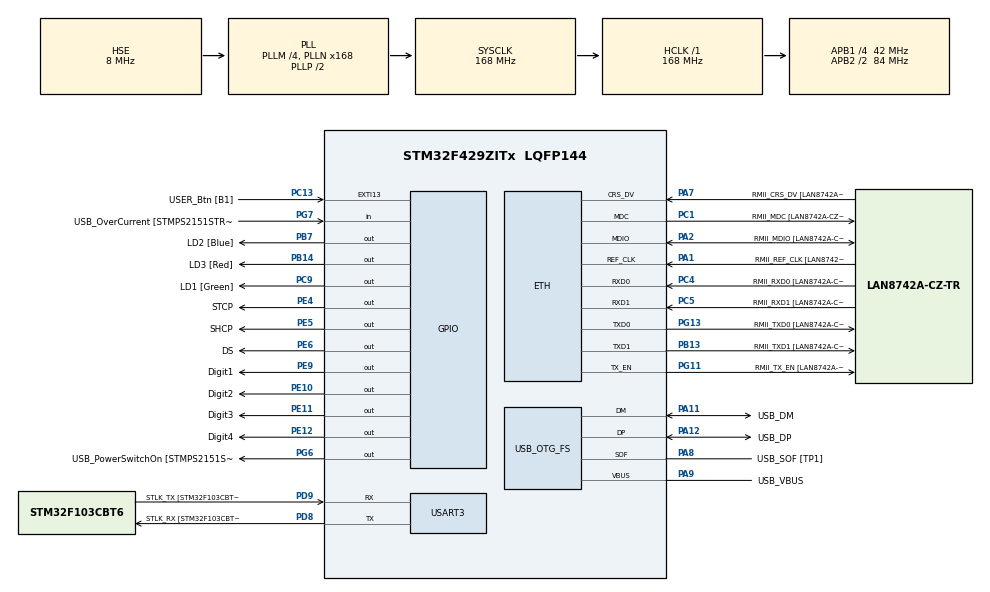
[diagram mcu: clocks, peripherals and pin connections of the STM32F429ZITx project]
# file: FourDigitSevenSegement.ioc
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ETH.MediaInterface=ETH_MEDIA_INTERFACE_RMII
ETH.PHY_Name=LAN8742A_PHY_ADDRESS
ETH.PHY_Value=0
ETH.PhyAddress=0
FREERTOS.Tasks01=defaultTask,0,128,StartDefaultTask,Default,NULL
Mcu.Family=STM32F4
Mcu.Name=STM32F429ZITx
Mcu.Package=LQFP144
NVIC.PriorityGroup=NVIC_PRIORITYGROUP_4
NVIC.TIM1_UP_TIM10_IRQn=true\:0\:0\:false\:false\:true\:false\:false
NVIC.TimeBase=TIM1_UP_TIM10_IRQn
NVIC.TimeBaseIP=TIM1
PA1.GPIO_Label=RMII_REF_CLK [LAN8742A-CZ-TR_REFCLK0]
PA1.Mode=RMII
PA1.Signal=ETH_REF_CLK
PA10.GPIO_Label=USB_ID
PA10.Signal=USB_OTG_FS_ID
PA11.GPIO_Label=USB_DM
PA11.Mode=Device_Only
PA11.Signal=USB_OTG_FS_DM
PA12.GPIO_Label=USB_DP
PA12.Mode=Device_Only
PA12.Signal=USB_OTG_FS_DP
PA13.GPIO_Label=TMS
PA13.Mode=Serial_Wire
PA13.Signal=SYS_JTMS-SWDIO
PA14.GPIO_Label=TCK
PA14.Mode=Serial_Wire
PA14.Signal=SYS_JTCK-SWCLK
PA2.GPIO_Label=RMII_MDIO [LAN8742A-CZ-TR_MDIO]
PA2.Mode=RMII
PA2.Signal=ETH_MDIO
PA7.GPIO_Label=RMII_CRS_DV [LAN8742A-CZ-TR_CRS_DV]
PA7.Mode=RMII
PA7.Signal=ETH_CRS_DV
PA8.GPIO_Label=USB_SOF [TP1]
PA8.Mode=Activate_SOF_FS
PA8.Signal=USB_OTG_FS_SOF
PA9.GPIO_Label=USB_VBUS
PA9.Mode=Activate_VBUS
PA9.Signal=USB_OTG_FS_VBUS
PB13.GPIO_Label=RMII_TXD1 [LAN8742A-CZ-TR_TXD1]
PB13.Mode=RMII
PB13.Signal=ETH_TXD1
PB14.GPIO_Label=LD3 [Red]
PB14.Signal=GPIO_Output
PB7.GPIO_Label=LD2 [Blue]
PB7.Signal=GPIO_Output
PC1.GPIO_Label=RMII_MDC [LAN8742A-CZ-TR_MDC]
PC1.Mode=RMII
PC1.Signal=ETH_MDC
PC13.GPIO_Label=USER_Btn [B1]
PC13.Signal=GPXTI13
PC14/OSC32_IN.Mode=LSE-External-Oscillator
PC14/OSC32_IN.Signal=RCC_OSC32_IN
PC15/OSC32_OUT.Mode=LSE-External-Oscillator
PC15/OSC32_OUT.Signal=RCC_OSC32_OUT
PC4.GPIO_Label=RMII_RXD0 [LAN8742A-CZ-TR_RXD0]
PC4.Mode=RMII
PC4.Signal=ETH_RXD0
PC5.GPIO_Label=RMII_RXD1 [LAN8742A-CZ-TR_RXD1]
PC5.Mode=RMII
PC5.Signal=ETH_RXD1
PC9.GPIO_Label=LD1 [Green]
PC9.Signal=GPIO_Output
PD8.GPIO_Label=STLK_RX [STM32F103CBT6_PA3]
PD8.Mode=Asynchronous
PD8.Signal=USART3_TX
PD9.GPIO_Label=STLK_TX [STM32F103CBT6_PA2]
PD9.Mode=Asynchronous
PD9.Signal=USART3_RX
PE10.GPIO_Label=Digit2
PE10.Signal=GPIO_Output
PE11.GPIO_Label=Digit3
PE11.Signal=GPIO_Output
PE12.GPIO_Label=Digit4
PE12.Signal=GPIO_Output
PE4.GPIO_Label=STCP
PE4.Signal=GPIO_Output
PE5.GPIO_Label=SHCP
PE5.Signal=GPIO_Output
PE6.GPIO_Label=DS
PE6.Signal=GPIO_Output
PE9.GPIO_Label=Digit1
PE9.Signal=GPIO_Output
PG11.GPIO_Label=RMII_TX_EN [LAN8742A-CZ-TR_TXEN]
PG11.Mode=RMII
PG11.Signal=ETH_TX_EN
PG13.GPIO_Label=RMII_TXD0 [LAN8742A-CZ-TR_TXD0]
PG13.Mode=RMII
PG13.Signal=ETH_TXD0
PG6.GPIO_Label=USB_PowerSwitchOn [STMPS2151STR_EN]
PG6.Signal=GPIO_Output
PG7.GPIO_Label=USB_OverCurrent [STMPS2151STR_FAULT]
PG7.Signal=GPIO_Input
PH0/OSC_IN.GPIO_Label=MCO [STM32F103CBT6_PA8]
PH0/OSC_IN.Mode=HSE-External-Clock-Source
PH0/OSC_IN.Signal=RCC_OSC_IN
PH1/OSC_OUT.Mode=HSE-External-Clock-Source
PH1/OSC_OUT.Signal=RCC_OSC_OUT
ProjectManager.HeapSize=0x200
ProjectManager.StackSize=0x400
ProjectManager.TargetToolchain=SW4STM32
RCC.48MHZClocksFreq_Value=48000000
RCC.AHBFreq_Value=168000000
RCC.APB1CLKDivider=RCC_HCLK_DIV4
RCC.APB1Freq_Value=42000000
RCC.APB1TimFreq_Value=84000000
RCC.APB2CLKDivider=RCC_HCLK_DIV2
RCC.APB2Freq_Value=84000000
RCC.APB2TimCLKDivider=2
RCC.APB2TimFreq_Value=168000000
RCC.CortexFreq_Value=168000000
RCC.HCLKFreq_Value=168000000
RCC.HSE_VALUE=8000000
RCC.HSI_VALUE=16000000
RCC.PLLM=4
RCC.PLLMUL=RCC_PLL_MUL9
RCC.PLLN=168
RCC.PLLQ=7
RCC.PRESCALERUSB=RCC_USBCLKSOURCE_PLL_DIV1_5
RCC.SYSCLKFreq_VALUE=168000000
RCC.SYSCLKSource=RCC_SYSCLKSOURCE_PLLCLK
RCC.SYSCLKSourceVirtual=RCC_SYSCLKSOURCE_PLLCLK
RCC.USBFreq_Value=48000000
RCC.VCOOutputFreq_Value=336000000
USART3.VirtualMode=VM_ASYNC
USB_OTG_FS.VirtualMode=Device_Only
VP_FREERTOS_VS_ENABLE.Mode=Enabled
VP_SYS_VS_tim1.Mode=TIM1
board=NUCLEO-F429ZI

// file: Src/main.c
/* USER CODE BEGIN Header */
/**
  ******************************************************************************
  * @file           : main.c
  * @brief          : Main program body
  ******************************************************************************
  * This notice applies to any and all portions of this file
  * that are not between comment pairs USER CODE BEGIN and
  * USER CODE END. Other portions of this file, whether
  * inserted by the user or by software development tools
  * are owned by their respective copyright owners.
  *
  * Copyright (c) 2019 STMicroelectronics International N.V.
  * All rights reserved.
  *
  * Redistribution and use in source and binary forms, with or without
  * modification, are permitted, provided that the following conditions are met:
  *
  * 1. Redistribution of source code must retain the above copyright notice,
  *    this list of conditions and the following disclaimer.
  * 2. Redistributions in binary form must reproduce the above copyright notice,
  *    this list of conditions and the following disclaimer in the documentation
  *    and/or other materials provided with the distribution.
  * 3. Neither the name of STMicroelectronics nor the names of other
  *    contributors to this software may be used to endorse or promote products
  *    derived from this software without specific written permission.
  * 4. This software, including modifications and/or derivative works of this
  *    software, must execute solely and exclusively on microcontroller or
  *    microprocessor devices manufactured by or for STMicroelectronics.
  * 5. Redistribution and use of this software other than as permitted under
  *    this license is void and will automatically terminate your rights under
  *    this license.
  *
  * THIS SOFTWARE IS PROVIDED BY STMICROELECTRONICS AND CONTRIBUTORS "AS IS"
  * AND ANY EXPRESS, IMPLIED OR STATUTORY WARRANTIES, INCLUDING, BUT NOT
  * LIMITED TO, THE IMPLIED WARRANTIES OF MERCHANTABILITY, FITNESS FOR A
  * PARTICULAR PURPOSE AND NON-INFRINGEMENT OF THIRD PARTY INTELLECTUAL PROPERTY
  * RIGHTS ARE DISCLAIMED TO THE FULLEST EXTENT PERMITTED BY LAW. IN NO EVENT
  * SHALL STMICROELECTRONICS OR CONTRIBUTORS BE LIABLE FOR ANY DIRECT, INDIRECT,
  * INCIDENTAL, SPECIAL, EXEMPLARY, OR CONSEQUENTIAL DAMAGES (INCLUDING, BUT NOT
  * LIMITED TO, PROCUREMENT OF SUBSTITUTE GOODS OR SERVICES; LOSS OF USE, DATA,
  * OR PROFITS; OR BUSINESS INTERRUPTION) HOWEVER CAUSED AND ON ANY THEORY OF
  * LIABILITY, WHETHER IN CONTRACT, STRICT LIABILITY, OR TORT (INCLUDING
  * NEGLIGENCE OR OTHERWISE) ARISING IN ANY WAY OUT OF THE USE OF THIS SOFTWARE,
  * EVEN IF ADVISED OF THE POSSIBILITY OF SUCH DAMAGE.
  *
  ******************************************************************************
  */
/* USER CODE END Header */

#include "main.h"
#include "cmsis_os.h"

/* USER CODE BEGIN Includes */
#include <stdlib.h>
#include <stdbool.h>
/* USER CODE END Includes */

ETH_HandleTypeDef heth;

UART_HandleTypeDef huart3;

PCD_HandleTypeDef hpcd_USB_OTG_FS;

osThreadId defaultTaskHandle;

void SystemClock_Config(void);
static void MX_GPIO_Init(void);
static void MX_ETH_Init(void);
static void MX_USART3_UART_Init(void);
static void MX_USB_OTG_FS_PCD_Init(void);
void StartDefaultTask(void const * argument);

/* USER CODE BEGIN 0 */
#define LED_DELAY 400

// cubemx has incorrect mapping for f429zi  green led
//#define GREEN_LED_PIN LD1_Pin
//#define GREEN_BANK    LD1_GPIO_Port
#define GREEN_LED_PIN GPIO_PIN_0
#define GREEN_BANK    GPIOB

#define BLUE_LED_PIN LD2_Pin
#define BLUE_BANK    LD2_GPIO_Port

#define RED_LED_PIN LD3_Pin
#define RED_BANK    LD3_GPIO_Port

void blink(GPIO_TypeDef * bank, uint16_t pin, int16_t count, int16_t delay){
    for(int16_t i = 0; i < count; i++) {
        HAL_GPIO_WritePin(bank, pin, GPIO_PIN_SET);
        HAL_Delay(delay);
        HAL_GPIO_WritePin(bank, pin, GPIO_PIN_RESET);
        HAL_Delay(delay);
    }
}

void blinkOnGreenDelay(int16_t count, int16_t delay) { blink(GREEN_BANK, GREEN_LED_PIN, count, delay); }
void blinkOnGreen(int16_t count) { blinkOnGreenDelay(count, LED_DELAY); }

void blinkOnRedDelay(int16_t count, int16_t delay) { blink(RED_BANK, RED_LED_PIN, count, delay); }
void blinkOnRed(int16_t count) { blinkOnRedDelay(count, LED_DELAY); }

void blinkOnBlueDelay(int16_t count, int16_t delay) { blink(BLUE_BANK, BLUE_LED_PIN, count, delay); }
void blinkOnBlue(int16_t count) { blinkOnBlueDelay(count, LED_DELAY); }

//

uint8_t table[] =
        { 0x3f, 0x06, 0x5b, 0x4f,
          0x66, 0x6d, 0x7d, 0x07,
          0x7f, 0x6f, 0x77, 0x7c,
          0x39, 0x5e, 0x79, 0x71,
          0x00 };

void shiftOut(GPIO_TypeDef * dataBank, uint16_t dataPin,
              GPIO_TypeDef * clockBank, uint16_t clockPin,
              bool MSBFIRST, uint8_t val) {
    uint8_t i;

    for (i = 0; i < 8; i++) {
        if(MSBFIRST) {
            HAL_GPIO_WritePin(dataBank, dataPin, !!(val & (1 << (7 - i))));
        }
        else {
            HAL_GPIO_WritePin(dataBank, dataPin, !!(val & (1 << i)));
        }

        // pulse the clock pin (at least one HAL_Delay(1) is neeeded)
        HAL_GPIO_WritePin(clockBank, clockPin, GPIO_PIN_SET);
        //HAL_Delay(1);
        HAL_GPIO_WritePin(clockBank, clockPin, GPIO_PIN_RESET);
        HAL_Delay(1);
    }
}

void display(uint8_t num) {

    HAL_GPIO_WritePin(STCP_GPIO_Port, STCP_Pin, GPIO_PIN_RESET);

    uint8_t value = table[num];

    shiftOut(DS_GPIO_Port, DS_Pin,
             SHCP_GPIO_Port, SHCP_Pin,
             true,
             value
    );

    HAL_GPIO_WritePin(STCP_GPIO_Port, STCP_Pin, GPIO_PIN_SET);
}

void mydisplay(uint8_t num) {

    uint8_t tens = num / 10;
    uint8_t ones = num % 10;

    for(int i = 0; i < 10; i++){
        display(ones);
        HAL_GPIO_WritePin(Digit2_GPIO_Port, Digit2_Pin, GPIO_PIN_RESET);
        HAL_GPIO_WritePin(Digit1_GPIO_Port, Digit1_Pin, GPIO_PIN_SET);

//        HAL_Delay(100);

        display(tens);
        HAL_GPIO_WritePin(Digit1_GPIO_Port, Digit1_Pin, GPIO_PIN_RESET);
        HAL_GPIO_WritePin(Digit2_GPIO_Port, Digit2_Pin, GPIO_PIN_SET);

  //      HAL_Delay(100);
    }
}

extern void initialise_monitor_handles(void);
/* USER CODE END 0 */

int main(void)
{
  /* USER CODE BEGIN 1 */
  initialise_monitor_handles();

  /* USER CODE END 1 */

  /* MCU Configuration--------------------------------------------------------*/

  /* Reset of all peripherals, Initializes the Flash interface and the Systick. */
  HAL_Init();

  /* Configure the system clock */
  SystemClock_Config();

  /* Initialize all configured peripherals */
  MX_GPIO_Init();
  MX_ETH_Init();
  MX_USART3_UART_Init();
  MX_USB_OTG_FS_PCD_Init();

  /* Create the thread(s) */
  /* definition and creation of defaultTask */
  osThreadDef(defaultTask, StartDefaultTask, osPriorityNormal, 0, 128);
  defaultTaskHandle = osThreadCreate(osThread(defaultTask), NULL);

  printf("Hello world\n");
  /* USER CODE BEGIN RTOS_THREADS */
  /* add threads, ... */
    if(defaultTaskHandle == NULL) {
        blinkOnRedDelay(10, 100);
        exit(-1);
    }
  /* USER CODE END RTOS_THREADS */

  /* Start scheduler */
  osKernelStart();

  /* We should never get here as control is now taken by the scheduler */

  /* Infinite loop */
  while (1)
  {

  }
}

void SystemClock_Config(void)
{
  RCC_OscInitTypeDef RCC_OscInitStruct = {0};
  RCC_ClkInitTypeDef RCC_ClkInitStruct = {0};

  /**Configure the main internal regulator output voltage
  */
  __HAL_RCC_PWR_CLK_ENABLE();
  __HAL_PWR_VOLTAGESCALING_CONFIG(PWR_REGULATOR_VOLTAGE_SCALE1);
  /**Initializes the CPU, AHB and APB busses clocks
  */
  RCC_OscInitStruct.OscillatorType = RCC_OSCILLATORTYPE_HSE;
  RCC_OscInitStruct.HSEState = RCC_HSE_BYPASS;
  RCC_OscInitStruct.PLL.PLLState = RCC_PLL_ON;
  RCC_OscInitStruct.PLL.PLLSource = RCC_PLLSOURCE_HSE;
  RCC_OscInitStruct.PLL.PLLM = 4;
  RCC_OscInitStruct.PLL.PLLN = 168;
  RCC_OscInitStruct.PLL.PLLP = RCC_PLLP_DIV2;
  RCC_OscInitStruct.PLL.PLLQ = 7;
  if (HAL_RCC_OscConfig(&RCC_OscInitStruct) != HAL_OK)
  {
    Error_Handler();
  }
  /**Initializes the CPU, AHB and APB busses clocks
  */
  RCC_ClkInitStruct.ClockType = RCC_CLOCKTYPE_HCLK|RCC_CLOCKTYPE_SYSCLK
                              |RCC_CLOCKTYPE_PCLK1|RCC_CLOCKTYPE_PCLK2;
  RCC_ClkInitStruct.SYSCLKSource = RCC_SYSCLKSOURCE_PLLCLK;
  RCC_ClkInitStruct.AHBCLKDivider = RCC_SYSCLK_DIV1;
  RCC_ClkInitStruct.APB1CLKDivider = RCC_HCLK_DIV4;
  RCC_ClkInitStruct.APB2CLKDivider = RCC_HCLK_DIV2;

  if (HAL_RCC_ClockConfig(&RCC_ClkInitStruct, FLASH_LATENCY_5) != HAL_OK)
  {
    Error_Handler();
  }
}

static void MX_ETH_Init(void)
{

   uint8_t MACAddr[6] ;

  heth.Instance = ETH;
  heth.Init.AutoNegotiation = ETH_AUTONEGOTIATION_ENABLE;
  heth.Init.PhyAddress = LAN8742A_PHY_ADDRESS;
  MACAddr[0] = 0x00;
  MACAddr[1] = 0x80;
  MACAddr[2] = 0xE1;
  MACAddr[3] = 0x00;
  MACAddr[4] = 0x00;
  MACAddr[5] = 0x00;
  heth.Init.MACAddr = &MACAddr[0];
  heth.Init.RxMode = ETH_RXPOLLING_MODE;
  heth.Init.ChecksumMode = ETH_CHECKSUM_BY_HARDWARE;
  heth.Init.MediaInterface = ETH_MEDIA_INTERFACE_RMII;

  if (HAL_ETH_Init(&heth) != HAL_OK)
  {
    Error_Handler();
  }

}

static void MX_USART3_UART_Init(void)
{

  huart3.Instance = USART3;
  huart3.Init.BaudRate = 115200;
  huart3.Init.WordLength = UART_WORDLENGTH_8B;
  huart3.Init.StopBits = UART_STOPBITS_1;
  huart3.Init.Parity = UART_PARITY_NONE;
  huart3.Init.Mode = UART_MODE_TX_RX;
  huart3.Init.HwFlowCtl = UART_HWCONTROL_NONE;
  huart3.Init.OverSampling = UART_OVERSAMPLING_16;
  if (HAL_UART_Init(&huart3) != HAL_OK)
  {
    Error_Handler();
  }

}

static void MX_USB_OTG_FS_PCD_Init(void)
{

  hpcd_USB_OTG_FS.Instance = USB_OTG_FS;
  hpcd_USB_OTG_FS.Init.dev_endpoints = 4;
  hpcd_USB_OTG_FS.Init.speed = PCD_SPEED_FULL;
  hpcd_USB_OTG_FS.Init.dma_enable = DISABLE;
  hpcd_USB_OTG_FS.Init.ep0_mps = DEP0CTL_MPS_64;
  hpcd_USB_OTG_FS.Init.phy_itface = PCD_PHY_EMBEDDED;
  hpcd_USB_OTG_FS.Init.Sof_enable = ENABLE;
  hpcd_USB_OTG_FS.Init.low_power_enable = DISABLE;
  hpcd_USB_OTG_FS.Init.lpm_enable = DISABLE;
  hpcd_USB_OTG_FS.Init.vbus_sensing_enable = ENABLE;
  hpcd_USB_OTG_FS.Init.use_dedicated_ep1 = DISABLE;
  if (HAL_PCD_Init(&hpcd_USB_OTG_FS) != HAL_OK)
  {
    Error_Handler();
  }

}

static void MX_GPIO_Init(void)
{
  GPIO_InitTypeDef GPIO_InitStruct = {0};

  /* GPIO Ports Clock Enable */
  __HAL_RCC_GPIOE_CLK_ENABLE();
  __HAL_RCC_GPIOC_CLK_ENABLE();
  __HAL_RCC_GPIOH_CLK_ENABLE();
  __HAL_RCC_GPIOA_CLK_ENABLE();
  __HAL_RCC_GPIOB_CLK_ENABLE();
  __HAL_RCC_GPIOD_CLK_ENABLE();
  __HAL_RCC_GPIOG_CLK_ENABLE();

  /*Configure GPIO pin Output Level */
  HAL_GPIO_WritePin(GPIOE, STCP_Pin|SHCP_Pin|DS_Pin|Digit1_Pin
                          |Digit2_Pin|Digit3_Pin|Digit4_Pin, GPIO_PIN_RESET);

  /*Configure GPIO pin Output Level */
  HAL_GPIO_WritePin(GPIOB, LD3_Pin|LD2_Pin, GPIO_PIN_RESET);

  /*Configure GPIO pin Output Level */
  HAL_GPIO_WritePin(USB_PowerSwitchOn_GPIO_Port, USB_PowerSwitchOn_Pin, GPIO_PIN_RESET);

  /*Configure GPIO pin Output Level */
  HAL_GPIO_WritePin(LD1_GPIO_Port, LD1_Pin, GPIO_PIN_RESET);

  /*Configure GPIO pins : STCP_Pin SHCP_Pin DS_Pin Digit1_Pin
                           Digit2_Pin Digit3_Pin Digit4_Pin */
  GPIO_InitStruct.Pin = STCP_Pin|SHCP_Pin|DS_Pin|Digit1_Pin
                          |Digit2_Pin|Digit3_Pin|Digit4_Pin;
  GPIO_InitStruct.Mode = GPIO_MODE_OUTPUT_PP;
  GPIO_InitStruct.Pull = GPIO_NOPULL;
  GPIO_InitStruct.Speed = GPIO_SPEED_FREQ_LOW;
  HAL_GPIO_Init(GPIOE, &GPIO_InitStruct);

  /*Configure GPIO pin : USER_Btn_Pin */
  GPIO_InitStruct.Pin = USER_Btn_Pin;
  GPIO_InitStruct.Mode = GPIO_MODE_IT_RISING;
  GPIO_InitStruct.Pull = GPIO_NOPULL;
  HAL_GPIO_Init(USER_Btn_GPIO_Port, &GPIO_InitStruct);

  /*Configure GPIO pins : LD3_Pin LD2_Pin */
  GPIO_InitStruct.Pin = LD3_Pin|LD2_Pin;
  GPIO_InitStruct.Mode = GPIO_MODE_OUTPUT_PP;
  GPIO_InitStruct.Pull = GPIO_NOPULL;
  GPIO_InitStruct.Speed = GPIO_SPEED_FREQ_LOW;
  HAL_GPIO_Init(GPIOB, &GPIO_InitStruct);

  /*Configure GPIO pin : USB_PowerSwitchOn_Pin */
  GPIO_InitStruct.Pin = USB_PowerSwitchOn_Pin;
  GPIO_InitStruct.Mode = GPIO_MODE_OUTPUT_PP;
  GPIO_InitStruct.Pull = GPIO_NOPULL;
  GPIO_InitStruct.Speed = GPIO_SPEED_FREQ_LOW;
  HAL_GPIO_Init(USB_PowerSwitchOn_GPIO_Port, &GPIO_InitStruct);

  /*Configure GPIO pin : USB_OverCurrent_Pin */
  GPIO_InitStruct.Pin = USB_OverCurrent_Pin;
  GPIO_InitStruct.Mode = GPIO_MODE_INPUT;
  GPIO_InitStruct.Pull = GPIO_NOPULL;
  HAL_GPIO_Init(USB_OverCurrent_GPIO_Port, &GPIO_InitStruct);

  /*Configure GPIO pin : LD1_Pin */
  GPIO_InitStruct.Pin = LD1_Pin;
  GPIO_InitStruct.Mode = GPIO_MODE_OUTPUT_PP;
  GPIO_InitStruct.Pull = GPIO_NOPULL;
  GPIO_InitStruct.Speed = GPIO_SPEED_FREQ_LOW;
  HAL_GPIO_Init(LD1_GPIO_Port, &GPIO_InitStruct);

}

void StartDefaultTask(void const * argument)
{

  /* USER CODE BEGIN 5 */
  /* Infinite loop */
  int i = 0;
    for(;;)
    {
        while(1) {
            printf("will print %i\n", i);
            mydisplay(i % 100);
            i++;
        }
    }
  /* USER CODE END 5 */
}

void HAL_TIM_PeriodElapsedCallback(TIM_HandleTypeDef *htim)
{
  if (htim->Instance == TIM1) {
    HAL_IncTick();
  }
}

void Error_Handler(void)
{
}

/************************ (C) COPYRIGHT STMicroelectronics *****END OF FILE****/
